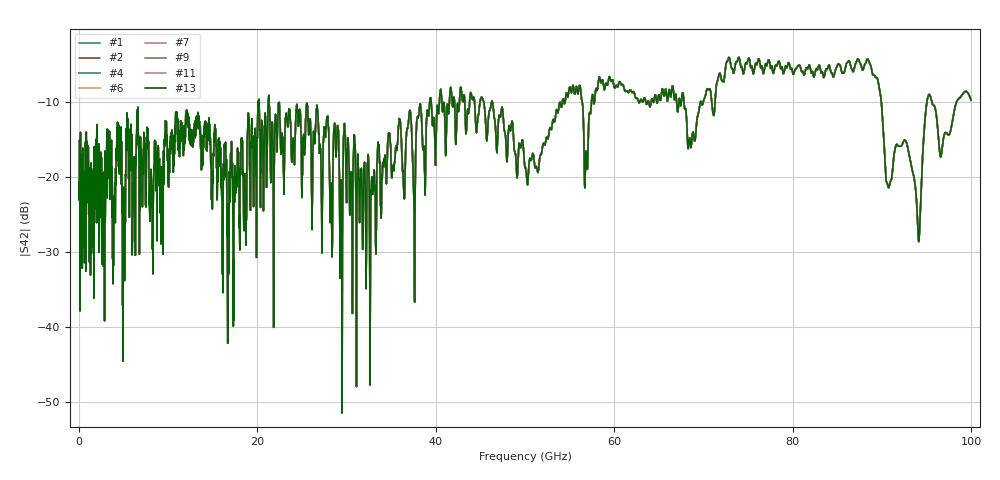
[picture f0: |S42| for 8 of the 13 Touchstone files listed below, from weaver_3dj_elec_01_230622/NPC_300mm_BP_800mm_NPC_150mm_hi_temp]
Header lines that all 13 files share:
# Hz S RI R 45
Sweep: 25 MHz to 100 GHz
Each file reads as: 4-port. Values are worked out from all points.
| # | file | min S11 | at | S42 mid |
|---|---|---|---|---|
| 1 | KR_ch_3in_PCB_80C_NPC_300mm_29AWG_70C_BP_800mm_27AWG_70C_NPC_150mm_29AWG_70C_FEXT1.s4p | -52.7 dB | 71.78 GHz | -18.8 dB at 50.02 GHz |
| 2 | KR_ch_3in_PCB_80C_NPC_300mm_29AWG_70C_BP_800mm_27AWG_70C_NPC_150mm_29AWG_70C_FEXT2.s4p | -45.0 dB | 21.73 GHz | -18.8 dB at 50.02 GHz |
| 3 | KR_ch_3in_PCB_80C_NPC_300mm_29AWG_70C_BP_800mm_27AWG_70C_NPC_150mm_29AWG_70C_FEXT3.s4p | -44.5 dB | 31.32 GHz | -18.8 dB at 50.02 GHz |
| 4 | KR_ch_3in_PCB_80C_NPC_300mm_29AWG_70C_BP_800mm_27AWG_70C_NPC_150mm_29AWG_70C_FEXT4.s4p | -45.9 dB | 18.57 GHz | -18.8 dB at 50.02 GHz |
| 5 | KR_ch_3in_PCB_80C_NPC_300mm_29AWG_70C_BP_800mm_27AWG_70C_NPC_150mm_29AWG_70C_FEXT5.s4p | -40.1 dB | 8 GHz | -18.8 dB at 50.02 GHz |
| 6 | KR_ch_3in_PCB_80C_NPC_300mm_29AWG_70C_BP_800mm_27AWG_70C_NPC_150mm_29AWG_70C_FEXT6.s4p | -54.6 dB | 32.38 GHz | -18.8 dB at 50.02 GHz |
| 7 | KR_ch_3in_PCB_80C_NPC_300mm_29AWG_70C_BP_800mm_27AWG_70C_NPC_150mm_29AWG_70C_NEXT1.s4p | -60.2 dB | 7.65 GHz | -18.8 dB at 50.02 GHz |
| 8 | KR_ch_3in_PCB_80C_NPC_300mm_29AWG_70C_BP_800mm_27AWG_70C_NPC_150mm_29AWG_70C_NEXT2.s4p | -50.6 dB | 8.8 GHz | -18.8 dB at 50.02 GHz |
| 9 | KR_ch_3in_PCB_80C_NPC_300mm_29AWG_70C_BP_800mm_27AWG_70C_NPC_150mm_29AWG_70C_NEXT3.s4p | -51.3 dB | 33.88 GHz | -18.8 dB at 50.02 GHz |
| 10 | KR_ch_3in_PCB_80C_NPC_300mm_29AWG_70C_BP_800mm_27AWG_70C_NPC_150mm_29AWG_70C_NEXT4.s4p | -45.4 dB | 2.95 GHz | -18.8 dB at 50.02 GHz |
| 11 | KR_ch_3in_PCB_80C_NPC_300mm_29AWG_70C_BP_800mm_27AWG_70C_NPC_150mm_29AWG_70C_NEXT5.s4p | -47.1 dB | 9.225 GHz | -18.8 dB at 50.02 GHz |
| 12 | KR_ch_3in_PCB_80C_NPC_300mm_29AWG_70C_BP_800mm_27AWG_70C_NPC_150mm_29AWG_70C_NEXT6.s4p | -61.0 dB | 20.25 GHz | -18.8 dB at 50.02 GHz |
| 13 | KR_ch_3in_PCB_80C_NPC_300mm_29AWG_70C_BP_800mm_27AWG_70C_NPC_150mm_29AWG_70C_thru.s4p | -45.5 dB | 34.15 GHz | -18.8 dB at 50.02 GHz |
